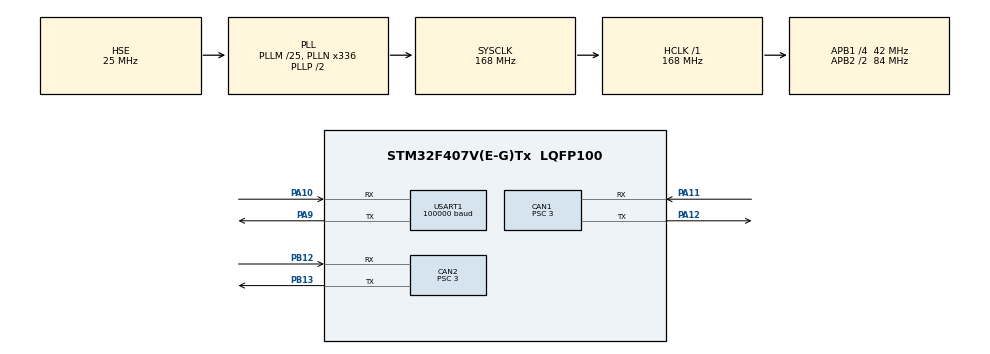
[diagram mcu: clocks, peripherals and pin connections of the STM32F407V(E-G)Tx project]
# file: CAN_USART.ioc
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CAN1.BS1=CAN_BS1_10TQ
CAN1.BS2=CAN_BS2_3TQ
CAN1.CalculateBaudRate=1000000
CAN1.CalculateTimeBit=999.99
CAN1.CalculateTimeQuantum=71.42857142857143
CAN1.Prescaler=3
CAN2.BS1=CAN_BS1_10TQ
CAN2.BS2=CAN_BS2_3TQ
CAN2.CalculateBaudRate=1000000
CAN2.CalculateTimeBit=999.99
CAN2.CalculateTimeQuantum=71.42857142857143
CAN2.Prescaler=3
Dma.Request0=USART1_RX
Dma.USART1_RX.0.Direction=DMA_PERIPH_TO_MEMORY
Dma.USART1_RX.0.FIFOMode=DMA_FIFOMODE_DISABLE
Dma.USART1_RX.0.Instance=DMA2_Stream2
Dma.USART1_RX.0.MemDataAlignment=DMA_MDATAALIGN_BYTE
Dma.USART1_RX.0.MemInc=DMA_MINC_ENABLE
Dma.USART1_RX.0.Mode=DMA_CIRCULAR
Dma.USART1_RX.0.PeriphDataAlignment=DMA_PDATAALIGN_BYTE
Dma.USART1_RX.0.PeriphInc=DMA_PINC_DISABLE
Dma.USART1_RX.0.Priority=DMA_PRIORITY_VERY_HIGH
FREERTOS.Queues01=queue1,16,uint32_t,0,Dynamic,NULL,NULL
FREERTOS.Tasks01=task1,0,128,StartDefaultTask,Default,NULL,Dynamic,NULL,NULL;task2,3,512,StartTask02,Default,NULL,Dynamic,NULL,NULL;taskMSG,2,128,StartTask03,Default,NULL,Dynamic,NULL,NULL
FREERTOS.configENABLE_FPU=1
FREERTOS.configMINIMAL_STACK_SIZE=64
FREERTOS.configQUEUE_REGISTRY_SIZE=16
Mcu.Family=STM32F4
Mcu.Name=STM32F407V(E-G)Tx
Mcu.Package=LQFP100
NVIC.CAN1_RX0_IRQn=true\:5\:0\:false\:false\:true\:true\:true\:true
NVIC.CAN1_TX_IRQn=true\:5\:0\:false\:false\:true\:true\:true\:true
NVIC.CAN2_RX0_IRQn=true\:5\:0\:false\:false\:true\:true\:true\:true
NVIC.CAN2_TX_IRQn=true\:5\:0\:false\:false\:true\:true\:true\:true
NVIC.DMA2_Stream2_IRQn=true\:5\:0\:false\:false\:true\:true\:false\:true
NVIC.PriorityGroup=NVIC_PRIORITYGROUP_4
NVIC.TIM6_DAC_IRQn=true\:0\:0\:false\:false\:true\:false\:false\:true
NVIC.TimeBase=TIM6_DAC_IRQn
NVIC.TimeBaseIP=TIM6
NVIC.USART1_IRQn=true\:0\:0\:false\:false\:true\:false\:true\:true
PA10.Mode=Asynchronous
PA10.Signal=USART1_RX
PA11.Mode=CAN_Activate
PA11.Signal=CAN1_RX
PA12.Mode=CAN_Activate
PA12.Signal=CAN1_TX
PA13.Mode=Serial_Wire
PA13.Signal=SYS_JTMS-SWDIO
PA14.Mode=Serial_Wire
PA14.Signal=SYS_JTCK-SWCLK
PA9.Mode=Asynchronous
PA9.Signal=USART1_TX
PB12.Mode=CAN_Activate
PB12.Signal=CAN2_RX
PB13.Mode=CAN_Activate
PB13.Signal=CAN2_TX
PH0-OSC_IN.Mode=HSE-External-Oscillator
PH0-OSC_IN.Signal=RCC_OSC_IN
PH1-OSC_OUT.Mode=HSE-External-Oscillator
PH1-OSC_OUT.Signal=RCC_OSC_OUT
ProjectManager.HeapSize=0x200
ProjectManager.StackSize=0x400
ProjectManager.TargetToolchain=MDK-ARM V5.27
RCC.48MHZClocksFreq_Value=84000000
RCC.AHBFreq_Value=168000000
RCC.APB1CLKDivider=RCC_HCLK_DIV4
RCC.APB1Freq_Value=42000000
RCC.APB1TimFreq_Value=84000000
RCC.APB2CLKDivider=RCC_HCLK_DIV2
RCC.APB2Freq_Value=84000000
RCC.APB2TimFreq_Value=168000000
RCC.CortexFreq_Value=168000000
RCC.HCLKFreq_Value=168000000
RCC.HSE_VALUE=25000000
RCC.HSI_VALUE=16000000
RCC.LSE_VALUE=32768
RCC.PLLM=25
RCC.PLLN=336
RCC.PLLSourceVirtual=RCC_PLLSOURCE_HSE
RCC.SYSCLKFreq_VALUE=168000000
RCC.SYSCLKSource=RCC_SYSCLKSOURCE_PLLCLK
RCC.VCOOutputFreq_Value=336000000
USART1.BaudRate=100000
USART1.Mode=MODE_RX
USART1.Parity=PARITY_EVEN
USART1.VirtualMode=VM_ASYNC
USART1.WordLength=WORDLENGTH_9B
VP_FREERTOS_VS_CMSIS_V1.Mode=CMSIS_V1
VP_SYS_VS_tim6.Mode=TIM6
board=custom

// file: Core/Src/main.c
/* USER CODE BEGIN Header */
/**
  ******************************************************************************
  * @file           : main.c
  * @brief          : Main program body
  ******************************************************************************
  * @attention
  *
  * <h2><center>&copy; Copyright (c) 2021 STMicroelectronics.
  * All rights reserved.</center></h2>
  *
  * This software component is licensed by ST under Ultimate Liberty license
  * SLA0044, the "License"; You may not use this file except in compliance with
  * the License. You may obtain a copy of the License at:
  *                             www.st.com/SLA0044
  *
  ******************************************************************************
  */
/* USER CODE END Header */
#include "main.h"
#include "cmsis_os.h"
#include "can.h"
#include "dma.h"
#include "usart.h"
#include "gpio.h"

void SystemClock_Config(void);
void MX_FREERTOS_Init(void);

int main(void)
{

  /* MCU Configuration--------------------------------------------------------*/

  /* Reset of all peripherals, Initializes the Flash interface and the Systick. */
  HAL_Init();

  /* Configure the system clock */
  SystemClock_Config();

  /* Initialize all configured peripherals */
  MX_GPIO_Init();
  MX_DMA_Init();
  MX_CAN1_Init();
  MX_USART1_UART_Init();
  MX_CAN2_Init();
  /* USER CODE BEGIN 2 */
	CAN1_FilterInit();
	UART1_RemoteStart();
  /* USER CODE END 2 */

  /* Call init function for freertos objects (in freertos.c) */
  MX_FREERTOS_Init();
  /* Start scheduler */
  osKernelStart();

  /* We should never get here as control is now taken by the scheduler */
  /* Infinite loop */
  while (1)
  {

  }
}

void SystemClock_Config(void)
{
  RCC_OscInitTypeDef RCC_OscInitStruct = {0};
  RCC_ClkInitTypeDef RCC_ClkInitStruct = {0};

  /** Configure the main internal regulator output voltage
  */
  __HAL_RCC_PWR_CLK_ENABLE();
  __HAL_PWR_VOLTAGESCALING_CONFIG(PWR_REGULATOR_VOLTAGE_SCALE1);
  /** Initializes the RCC Oscillators according to the specified parameters
  * in the RCC_OscInitTypeDef structure.
  */
  RCC_OscInitStruct.OscillatorType = RCC_OSCILLATORTYPE_HSE;
  RCC_OscInitStruct.HSEState = RCC_HSE_ON;
  RCC_OscInitStruct.PLL.PLLState = RCC_PLL_ON;
  RCC_OscInitStruct.PLL.PLLSource = RCC_PLLSOURCE_HSE;
  RCC_OscInitStruct.PLL.PLLM = 25;
  RCC_OscInitStruct.PLL.PLLN = 336;
  RCC_OscInitStruct.PLL.PLLP = RCC_PLLP_DIV2;
  RCC_OscInitStruct.PLL.PLLQ = 4;
  if (HAL_RCC_OscConfig(&RCC_OscInitStruct) != HAL_OK)
  {
    Error_Handler();
  }
  /** Initializes the CPU, AHB and APB buses clocks
  */
  RCC_ClkInitStruct.ClockType = RCC_CLOCKTYPE_HCLK|RCC_CLOCKTYPE_SYSCLK
                              |RCC_CLOCKTYPE_PCLK1|RCC_CLOCKTYPE_PCLK2;
  RCC_ClkInitStruct.SYSCLKSource = RCC_SYSCLKSOURCE_PLLCLK;
  RCC_ClkInitStruct.AHBCLKDivider = RCC_SYSCLK_DIV1;
  RCC_ClkInitStruct.APB1CLKDivider = RCC_HCLK_DIV4;
  RCC_ClkInitStruct.APB2CLKDivider = RCC_HCLK_DIV2;

  if (HAL_RCC_ClockConfig(&RCC_ClkInitStruct, FLASH_LATENCY_5) != HAL_OK)
  {
    Error_Handler();
  }
}

 /**
  * @brief  Period elapsed callback in non blocking mode
  * @note   This function is called  when TIM6 interrupt took place, inside
  * HAL_TIM_IRQHandler(). It makes a direct call to HAL_IncTick() to increment
  * a global variable "uwTick" used as application time base.
  * @param  htim : TIM handle
  * @retval None
  */
void HAL_TIM_PeriodElapsedCallback(TIM_HandleTypeDef *htim)
{
  if (htim->Instance == TIM6) {
    HAL_IncTick();
  }
}

void Error_Handler(void)
{
}

/************************ (C) COPYRIGHT STMicroelectronics *****END OF FILE****/

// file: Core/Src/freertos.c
/* USER CODE BEGIN Header */
/**
  ******************************************************************************
  * File Name          : freertos.c
  * Description        : Code for freertos applications
  ******************************************************************************
  * @attention
  *
  * <h2><center>&copy; Copyright (c) 2021 STMicroelectronics.
  * All rights reserved.</center></h2>
  *
  * This software component is licensed by ST under Ultimate Liberty license
  * SLA0044, the "License"; You may not use this file except in compliance with
  * the License. You may obtain a copy of the License at:
  *                             www.st.com/SLA0044
  *
  ******************************************************************************
  */
/* USER CODE END Header */

#include "FreeRTOS.h"
#include "task.h"
#include "main.h"
#include "cmsis_os.h"

/* USER CODE BEGIN Includes */
#include "usart.h"
#include "tim.h"
#include "message.h"

#include "chassis.h"

/* USER CODE END Includes */

/* USER CODE BEGIN Variables */
osEvent evt;
/* USER CODE END Variables */
osThreadId task1Handle;
osThreadId task2Handle;
osThreadId taskMSGHandle;
osMessageQId queue1Handle;

void StartDefaultTask(void const * argument);
void StartTask02(void const * argument);
void StartTask03(void const * argument);

void MX_FREERTOS_Init(void); /* (MISRA C 2004 rule 8.1) */

/* GetIdleTaskMemory prototype (linked to static allocation support) */
void vApplicationGetIdleTaskMemory( StaticTask_t **ppxIdleTaskTCBBuffer, StackType_t **ppxIdleTaskStackBuffer, uint32_t *pulIdleTaskStackSize );

/* USER CODE BEGIN GET_IDLE_TASK_MEMORY */
static StaticTask_t xIdleTaskTCBBuffer;
static StackType_t xIdleStack[configMINIMAL_STACK_SIZE];

void vApplicationGetIdleTaskMemory( StaticTask_t **ppxIdleTaskTCBBuffer, StackType_t **ppxIdleTaskStackBuffer, uint32_t *pulIdleTaskStackSize )
{
  *ppxIdleTaskTCBBuffer = &xIdleTaskTCBBuffer;
  *ppxIdleTaskStackBuffer = &xIdleStack[0];
  *pulIdleTaskStackSize = configMINIMAL_STACK_SIZE;
  /* place for user code */
}
/* USER CODE END GET_IDLE_TASK_MEMORY */

void MX_FREERTOS_Init(void) {

  /* Create the queue(s) */
  /* definition and creation of queue1 */
  osMessageQDef(queue1, 16, uint32_t);
  queue1Handle = osMessageCreate(osMessageQ(queue1), NULL);

  /* Create the thread(s) */
  /* definition and creation of task1 */
  osThreadDef(task1, StartDefaultTask, osPriorityNormal, 0, 128);
  task1Handle = osThreadCreate(osThread(task1), NULL);

  /* definition and creation of task2 */
  osThreadDef(task2, StartTask02, osPriorityRealtime, 0, 512);
  task2Handle = osThreadCreate(osThread(task2), NULL);

  /* definition and creation of taskMSG */
  osThreadDef(taskMSG, StartTask03, osPriorityHigh, 0, 128);
  taskMSGHandle = osThreadCreate(osThread(taskMSG), NULL);

}

void StartDefaultTask(void const * argument)
{
  /* USER CODE BEGIN StartDefaultTask */
  /* Infinite loop */
   for(;;)
	{
	 osDelay(10);
	}
  /* USER CODE END StartDefaultTask */
}

void StartTask02(void const * argument)
{
  /* USER CODE BEGIN StartTask02 */
	/* pid初始化*/
	 RemoteData_t *RDMsg;
	 Chassis_Init();
  /* Infinite loop */
  for(;;)
  {
		/*pid更新*/
		evt = osMessageGet(queue1Handle,0);
		if(evt.status == osEventMessage)
		{
				RDMsg = (RemoteData_t*)evt.value.v;
//        tmp = *RDMsg;
		}
		Chassis_Process(*RDMsg);
    osDelay(1);
  }
  /* USER CODE END StartTask02 */
}

void StartTask03(void const * argument)
{
  /* USER CODE BEGIN StartTask03 */
  /* Infinite loop */

	for(;;)
  {
			RemoteData_t RDMsg;
      RemoteDataMsg_Process(&RDMsg);
      osMessagePut(queue1Handle, (uint32_t)&RDMsg, 0);
			osDelay(10);
  }

  /* USER CODE END StartTask03 */
}

/************************ (C) COPYRIGHT STMicroelectronics *****END OF FILE****/
